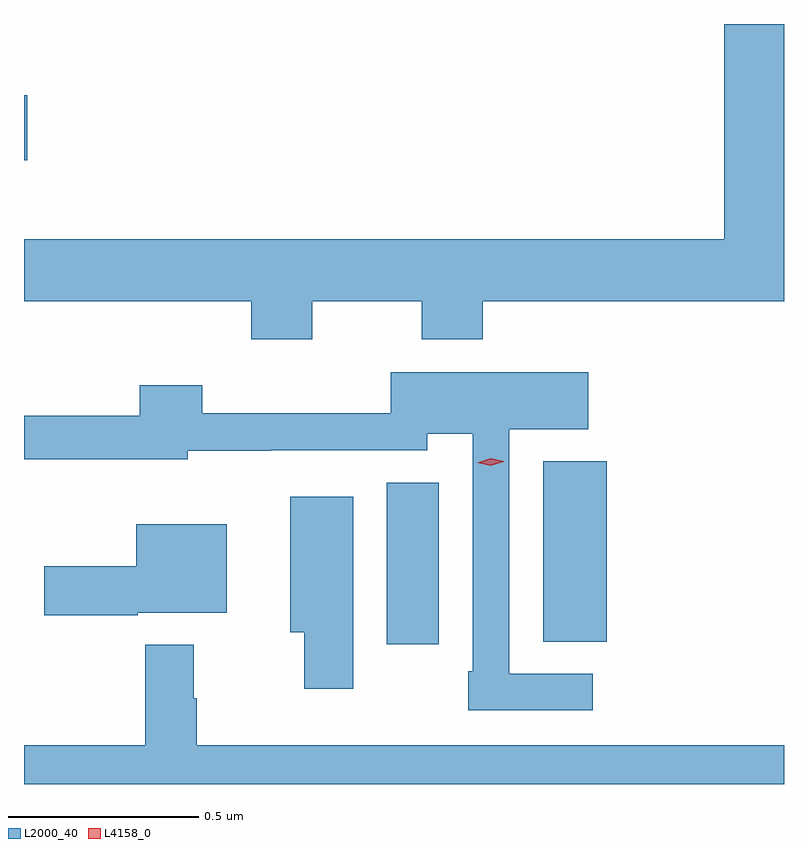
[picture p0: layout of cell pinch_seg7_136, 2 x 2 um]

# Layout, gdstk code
import gdstk
lib = gdstk.Library(unit=1e-6, precision=1e-09)
def R(c, l, rs):  # rectangles x0, y0, x1, y1
    for r in rs: c.add(gdstk.rectangle(r[:2], r[2:], *l))
def P(c, l, *ps):  # polygons
    for p in ps: c.add(gdstk.Polygon(p, *l))
L2000_40 = (2000, 40)
L4158_0 = (4158, 0)

pinch_seg7_136 = lib.new_cell('pinch_seg7_136')
R(pinch_seg7_136, L2000_40, [(911.27,999.714,911.407,1000.139), (911.681,999.721,911.848,1000.195), (910.315,1000.988,910.324,1001.159)])
P(pinch_seg7_136, L2000_40, [(911.073,1000.616),(911.362,1000.616),(911.362,1000.517),(911.522,1000.517),(911.522,1000.616),(912.315,1000.616),(912.315,1001.346),(912.158,1001.346),(912.158,1000.78),(910.315,1000.78),(910.315,1000.616),(910.913,1000.616),(910.913,1000.517),(911.073,1000.517)],
  [(911.812,999.636),(911.592,999.636),(911.592,1000.28),(911.8,1000.28),(911.8,1000.429),(911.28,1000.429),(911.28,1000.322),(910.784,1000.322),(910.784,1000.396),(910.619,1000.396),(910.619,1000.315),(910.315,1000.315),(910.315,1000.201),(910.746,1000.201),(910.746,1000.223),(910.964,1000.223),(910.964,1000.224),(911.376,1000.224),(911.376,1000.268),(911.496,1000.268),(911.496,999.643),(911.484,999.643),(911.484,999.54),(911.812,999.54)],
  [(911.182,1000.102),(911.015,1000.102),(911.015,999.746),(911.053,999.746),(911.053,999.597),(911.182,999.597)],
  [(910.614,999.797),(910.849,999.797),(910.849,1000.03),(910.61,1000.03),(910.61,999.919),(910.368,999.919),(910.368,999.79),(910.614,999.79)],
  [(912.315,999.448),(910.769,999.448),(910.769,999.572),(910.762,999.572),(910.762,999.712),(910.634,999.712),(910.634,999.448),(910.315,999.448),(910.315,999.346),(912.315,999.346)])
P(pinch_seg7_136, L4158_0, [(911.543,1000.183),(911.508,1000.192),(911.508,1000.192),(911.508,1000.192),(911.543,1000.203),(911.578,1000.195),(911.578,1000.195),(911.578,1000.194)])

lib.write_gds('pinch_seg7_136.gds')
